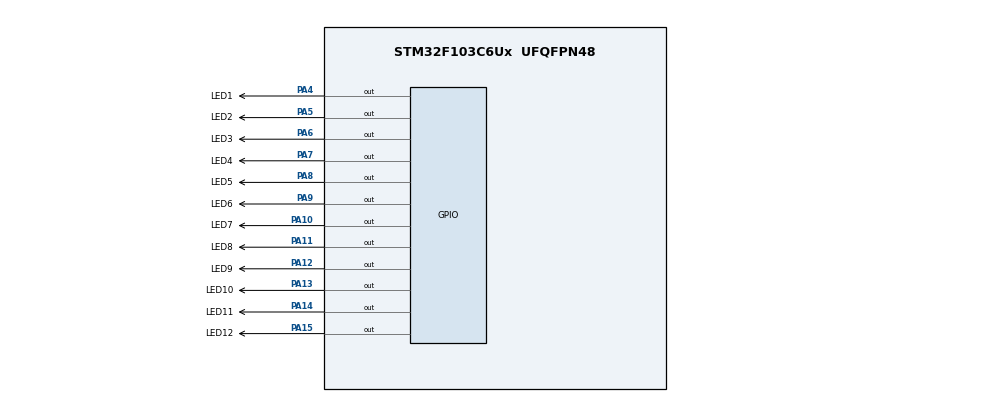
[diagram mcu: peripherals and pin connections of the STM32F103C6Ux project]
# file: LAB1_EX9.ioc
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Mcu.Family=STM32F1
Mcu.Name=STM32F103C6Ux
Mcu.Package=UFQFPN48
NVIC.PriorityGroup=NVIC_PRIORITYGROUP_4
PA10.GPIO_Label=LED7
PA10.Signal=GPIO_Output
PA11.GPIO_Label=LED8
PA11.Signal=GPIO_Output
PA12.GPIO_Label=LED9
PA12.Signal=GPIO_Output
PA13.GPIO_Label=LED10
PA13.Signal=GPIO_Output
PA14.GPIO_Label=LED11
PA14.Signal=GPIO_Output
PA15.GPIO_Label=LED12
PA15.Signal=GPIO_Output
PA4.GPIO_Label=LED1
PA4.Signal=GPIO_Output
PA5.GPIO_Label=LED2
PA5.Signal=GPIO_Output
PA6.GPIO_Label=LED3
PA6.Signal=GPIO_Output
PA7.GPIO_Label=LED4
PA7.Signal=GPIO_Output
PA8.GPIO_Label=LED5
PA8.Signal=GPIO_Output
PA9.GPIO_Label=LED6
PA9.Signal=GPIO_Output
ProjectManager.HeapSize=0x200
ProjectManager.StackSize=0x400
ProjectManager.TargetToolchain=STM32CubeIDE
RCC.APB1Freq_Value=8000000
RCC.APB2Freq_Value=8000000
VP_SYS_VS_ND.Mode=No_Debug
board=custom

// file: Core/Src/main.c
/* USER CODE BEGIN Header */
/**
  ******************************************************************************
  * @file           : main.c
  * @brief          : Main program body
  ******************************************************************************
  * @attention
  *
  * <h2><center>&copy; Copyright (c) 2024 STMicroelectronics.
  * All rights reserved.</center></h2>
  *
  * This software component is licensed by ST under BSD 3-Clause license,
  * the "License"; You may not use this file except in compliance with the
  * License. You may obtain a copy of the License at:
  *                        opensource.org/licenses/BSD-3-Clause
  *
  ******************************************************************************
  */
/* USER CODE END Header */
#include "main.h"

void SystemClock_Config(void);
static void MX_GPIO_Init(void);

int main(void)
{

  /* MCU Configuration--------------------------------------------------------*/

  /* Reset of all peripherals, Initializes the Flash interface and the Systick. */
  HAL_Init();

  /* Configure the system clock */
  SystemClock_Config();

  /* Initialize all configured peripherals */
  MX_GPIO_Init();

  /* Infinite loop */
  /* USER CODE BEGIN WHILE */

	void clearNumberOnClock(int num) {
		if (num == 1)
			HAL_GPIO_WritePin(LED1_GPIO_Port, LED1_Pin, RESET);
		if (num == 2)
			HAL_GPIO_WritePin(LED2_GPIO_Port, LED2_Pin, RESET);
		if (num == 3)
			HAL_GPIO_WritePin(LED3_GPIO_Port, LED3_Pin, RESET);
		if (num == 4)
			HAL_GPIO_WritePin(LED4_GPIO_Port, LED4_Pin, RESET);
		if (num == 5)
			HAL_GPIO_WritePin(LED5_GPIO_Port, LED5_Pin, RESET);
		if (num == 6)
			HAL_GPIO_WritePin(LED6_GPIO_Port, LED6_Pin, RESET);
		if (num == 7)
			HAL_GPIO_WritePin(LED7_GPIO_Port, LED7_Pin, RESET);
		if (num == 8)
			HAL_GPIO_WritePin(LED8_GPIO_Port, LED8_Pin, RESET);
		if (num == 9)
			HAL_GPIO_WritePin(LED9_GPIO_Port, LED9_Pin, RESET);
		if (num == 10)
			HAL_GPIO_WritePin(LED10_GPIO_Port, LED10_Pin, RESET);
		if (num == 11)
			HAL_GPIO_WritePin(LED11_GPIO_Port, LED11_Pin, RESET);
		if (num == 12)
			HAL_GPIO_WritePin(LED12_GPIO_Port, LED12_Pin, RESET);
	}

  while (1)
  {

    /* USER CODE END WHILE */

  }
}

void SystemClock_Config(void)
{
  RCC_OscInitTypeDef RCC_OscInitStruct = {0};
  RCC_ClkInitTypeDef RCC_ClkInitStruct = {0};

  /** Initializes the RCC Oscillators according to the specified parameters
  * in the RCC_OscInitTypeDef structure.
  */
  RCC_OscInitStruct.OscillatorType = RCC_OSCILLATORTYPE_HSI;
  RCC_OscInitStruct.HSIState = RCC_HSI_ON;
  RCC_OscInitStruct.HSICalibrationValue = RCC_HSICALIBRATION_DEFAULT;
  RCC_OscInitStruct.PLL.PLLState = RCC_PLL_NONE;
  if (HAL_RCC_OscConfig(&RCC_OscInitStruct) != HAL_OK)
  {
    Error_Handler();
  }
  /** Initializes the CPU, AHB and APB buses clocks
  */
  RCC_ClkInitStruct.ClockType = RCC_CLOCKTYPE_HCLK|RCC_CLOCKTYPE_SYSCLK
                              |RCC_CLOCKTYPE_PCLK1|RCC_CLOCKTYPE_PCLK2;
  RCC_ClkInitStruct.SYSCLKSource = RCC_SYSCLKSOURCE_HSI;
  RCC_ClkInitStruct.AHBCLKDivider = RCC_SYSCLK_DIV1;
  RCC_ClkInitStruct.APB1CLKDivider = RCC_HCLK_DIV1;
  RCC_ClkInitStruct.APB2CLKDivider = RCC_HCLK_DIV1;

  if (HAL_RCC_ClockConfig(&RCC_ClkInitStruct, FLASH_LATENCY_0) != HAL_OK)
  {
    Error_Handler();
  }
}

static void MX_GPIO_Init(void)
{
  GPIO_InitTypeDef GPIO_InitStruct = {0};

  /* GPIO Ports Clock Enable */
  __HAL_RCC_GPIOA_CLK_ENABLE();

  /*Configure GPIO pin Output Level */
  HAL_GPIO_WritePin(GPIOA, LED1_Pin|LED2_Pin|LED3_Pin|LED4_Pin
                          |LED5_Pin|LED6_Pin|LED7_Pin|LED8_Pin
                          |LED9_Pin|LED10_Pin|LED11_Pin|LED12_Pin, GPIO_PIN_RESET);

  /*Configure GPIO pins : LED1_Pin LED2_Pin LED3_Pin LED4_Pin
                           LED5_Pin LED6_Pin LED7_Pin LED8_Pin
                           LED9_Pin LED10_Pin LED11_Pin LED12_Pin */
  GPIO_InitStruct.Pin = LED1_Pin|LED2_Pin|LED3_Pin|LED4_Pin
                          |LED5_Pin|LED6_Pin|LED7_Pin|LED8_Pin
                          |LED9_Pin|LED10_Pin|LED11_Pin|LED12_Pin;
  GPIO_InitStruct.Mode = GPIO_MODE_OUTPUT_PP;
  GPIO_InitStruct.Pull = GPIO_NOPULL;
  GPIO_InitStruct.Speed = GPIO_SPEED_FREQ_LOW;
  HAL_GPIO_Init(GPIOA, &GPIO_InitStruct);

}

void Error_Handler(void)
{
  __disable_irq();
  while (1)
  {
  }
}

/************************ (C) COPYRIGHT STMicroelectronics *****END OF FILE****/
